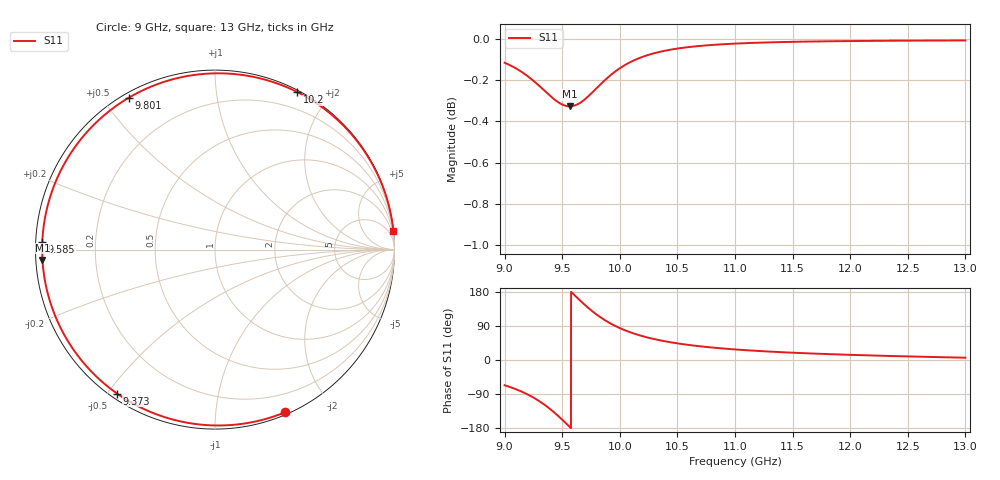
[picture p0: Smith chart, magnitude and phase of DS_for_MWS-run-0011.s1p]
! TOUCHSTONE file generated by CST DESIGN STUDIO
! Date and time: Tue Feb  4 18:14:43 2025
! Project name: C:\Work\MatlabApps\UnitCellOptimizationMatlab\CST\unitcell.cst
! Tree item: Tasks\Sweep1\SPara1\S-Parameters
! Header version: 2024
! Port assignment regex: !\s*Touchstone port\s*([0-9]+)\s*=\s*(CST MWS port|CST DES external port|CST DES block port)\s*(.+)\s* \(\"(.*)\"\)(\s*mode\s*([0-9]+))?.*
! Touchstone port assignment:
! Touchstone port 1 = CST DES external port 1 ("")
# GHz S MA R 50
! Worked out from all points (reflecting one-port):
!   4001 points, 9 GHz to 13 GHz, reference 50 ohm
!   lowest |S11| = -0.3 dB at 9.565 GHz (marker M1), VSWR 53.24, Z = 0.94 - j1.51 ohm
!   phase of S11 starts at -67 deg and turns -287 deg over the sweep
!   S11 on the Smith chart (normalised r, x): 9 GHz: 0.02, -1.52; 9.373 GHz: 0.02, -0.53; 9.585 GHz: 0.02, +0.02; 9.801 GHz: 0.02, +0.58; 10.2 GHz: 0.02, +1.65; 13 GHz: 0, +19
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9  0.9869 -66.7
9.043  0.9857 -70.9
9.11  0.9834 -78.5
9.225  0.9783 -94.9
9.303  0.9741 -109.0
9.373  0.97 -124.2
9.435  0.9667 -139.6
9.5  0.9641 -157.5
9.533  0.9634 -167.1
9.565  0.9631 -176.5
9.585  0.9632 177.5
9.64  0.9644 161.3
9.701  0.9671 144.2
9.751  0.97 131.2
9.801  0.9731 119.4
9.844  0.9758 110.3
9.891  0.9785 101.3
10  0.9839 84.2
10.097  0.9874 72.4
10.203  0.9903 62.4
10.339  0.9928 52.5
10.5  0.9948 43.9
10.721  0.9964 35.4
11  0.9975 27.9
11.5  0.9985 19.2
12  0.999 13.6
12.5  0.9992 9.4
13  0.9993 6.1
